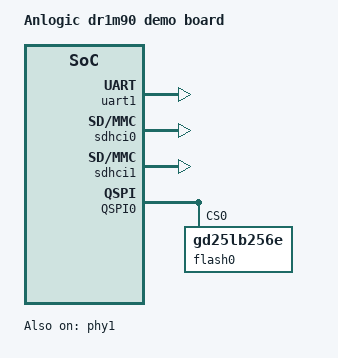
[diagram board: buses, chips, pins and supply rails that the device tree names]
// SPDX-License-Identifier: (GPL-2.0+ OR MIT)

/*
 * Copyright (c) 2022 Anlogic Inc.
 */
/dts-v1/;

#include "anlogic-dr1m90.dts"

/ {
	model = "Anlogic dr1m90 demo board";
	compatible = "anlogic, dr1m90-fpga";

	aliases {
		console = &uart1;
		serial0 = &uart1;
		mmc0 = &sdhci0;
		mmc1 = &sdhci1;
		ethernet0 = &ethernet0;
		spi0 = &QSPI0;
	};
};

&memory {
	reg = <0 0x40000000>;
};

&uart0 {
	status = "disabled";
};

&uart1 {
	status = "okay";
};

&spi0 {
	status = "disabled";
};

&spi1 {
	status = "disabled";
};

&i2c0 {
	status = "disabled";
};

&i2c1 {
	status = "disabled";
};

&gpio {
	status = "okay";
};

&sdhci0 {
	rx_clk_phase = <0>;
	status = "okay";
};

&sdhci1 {
	rx_clk_phase = <6>;
	status = "okay";
};

&QSPI0 {
	u-boot,dm-pre-reloc;
	rx-sample-delay = <1>;
	spi-max-frequency = <AL_QSPI_MAX_FREQUENCY>;
	status = "okay";

	flash0: flash@0 {
		u-boot,dm-pre-reloc;
		compatible = "gd25lb256e","jedec,spi-nor";
		reg = <0x0>;
		spi-tx-bus-width = <4>;
		spi-rx-bus-width = <4>;
		spi-max-frequency = <AL_QSPI_MAX_FREQUENCY>;
	};
};

&nand0 {
	status = "disabled";
};

&smcc {
	status = "disabled";
};

&ethernet0 {
	phy-handle = <&phy1>;
	status = "disabled";
};

&phy0 {
	/* Realtek RTL8211F (0x001cc916) */
	status = "disabled";
};

&phy1 {
	/* Motorcomm YT8531 (0x4f51e91b) */
	/* Reset gbe phy, 1: active low */
	reset-gpios = <&portb 19 1>;
	status = "okay";
};

&ethernet1 {
	phy-handle = <&phy2>;
	status = "disabled";
};

&phy2 {
	/* Realtek RTL8211F (0x001cc916) */
	status = "disabled";
};

&phy3 {
	/* Motorcomm YT8531 (0x4f51e91b) */
	status = "disabled";
};

&usb_otg0 {
	status = "disabled";
	/* Reset usb phy, 1: active low */
	dr_mode = "host";
	reset-gpios = <&portb 14 1>;
	reset-delays = <10>;
};
